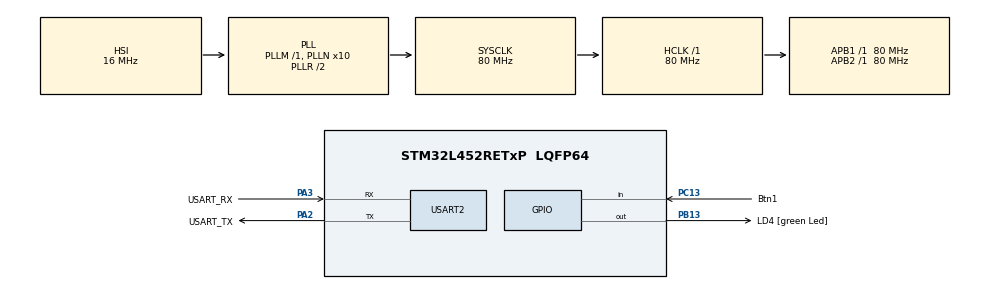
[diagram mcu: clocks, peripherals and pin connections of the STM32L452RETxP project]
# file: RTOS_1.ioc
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FREERTOS.Tasks01=defaultTask,0,128,StartDefaultTask,Default,NULL,Dynamic,NULL,NULL;myLedTask,0,128,StartLedTask,Default,NULL,Dynamic,NULL,NULL;myBtn,0,128,StartBtn,Default,NULL,Dynamic,NULL,NULL
FREERTOS.configUSE_NEWLIB_REENTRANT=1
Mcu.Family=STM32L4
Mcu.Name=STM32L452RETxP
Mcu.Package=LQFP64
NVIC.PriorityGroup=NVIC_PRIORITYGROUP_4
NVIC.TIM2_IRQn=true\:15\:0\:false\:false\:true\:false\:false\:true\:true
NVIC.TimeBase=TIM2_IRQn
NVIC.TimeBaseIP=TIM2
PA13\ (JTMS/SWDIO).GPIO_Label=TMS
PA13\ (JTMS/SWDIO).Mode=Trace_Asynchronous_SW
PA13\ (JTMS/SWDIO).Signal=SYS_JTMS-SWDIO
PA14\ (JTCK/SWCLK).GPIO_Label=TCK
PA14\ (JTCK/SWCLK).Mode=Trace_Asynchronous_SW
PA14\ (JTCK/SWCLK).Signal=SYS_JTCK-SWCLK
PA2.GPIO_Label=USART_TX
PA2.GPIO_Mode=GPIO_MODE_AF_PP
PA2.GPIO_PuPd=GPIO_NOPULL
PA2.GPIO_Speed=GPIO_SPEED_FREQ_VERY_HIGH
PA2.Mode=Asynchronous
PA2.Signal=USART2_TX
PA3.GPIO_Label=USART_RX
PA3.GPIO_Mode=GPIO_MODE_AF_PP
PA3.GPIO_PuPd=GPIO_NOPULL
PA3.GPIO_Speed=GPIO_SPEED_FREQ_VERY_HIGH
PA3.Mode=Asynchronous
PA3.Signal=USART2_RX
PB13.GPIO_Label=LD4 [green Led]
PB13.Signal=GPIO_Output
PB3\ (JTDO/TRACESWO).GPIO_Label=SWO
PB3\ (JTDO/TRACESWO).Mode=Trace_Asynchronous_SW
PB3\ (JTDO/TRACESWO).Signal=SYS_JTDO-SWO
PC13.GPIO_Label=Btn1
PC13.GPIO_PuPd=GPIO_NOPULL
PC13.Signal=GPIO_Input
PC14-OSC32_IN\ (PC14).Mode=LSE-External-Oscillator
PC14-OSC32_IN\ (PC14).Signal=RCC_OSC32_IN
PC15-OSC32_OUT\ (PC15).Mode=LSE-External-Oscillator
PC15-OSC32_OUT\ (PC15).Signal=RCC_OSC32_OUT
PH0-OSC_IN\ (PH0).GPIO_Label=MCO
PH0-OSC_IN\ (PH0).Mode=HSE-External-Clock-Source
PH0-OSC_IN\ (PH0).Signal=RCC_OSC_IN
PH1-OSC_OUT\ (PH1).Signal=RCC_OSC_OUT
ProjectManager.HeapSize=0x200
ProjectManager.StackSize=0x400
ProjectManager.TargetToolchain=STM32CubeIDE
RCC.ADCFreq_Value=64000000
RCC.AHBFreq_Value=80000000
RCC.APB1Freq_Value=80000000
RCC.APB1TimFreq_Value=80000000
RCC.APB2Freq_Value=80000000
RCC.APB2TimFreq_Value=80000000
RCC.CortexFreq_Value=80000000
RCC.HCLKFreq_Value=80000000
RCC.HSE_VALUE=8000000
RCC.HSI48_VALUE=48000000
RCC.HSI_VALUE=16000000
RCC.MSI_VALUE=4000000
RCC.PLLN=10
RCC.PLLSourceVirtual=RCC_PLLSOURCE_HSI
RCC.PREFETCH_ENABLE=1
RCC.SYSCLKFreq_VALUE=80000000
RCC.SYSCLKSource=RCC_SYSCLKSOURCE_PLLCLK
RCC.USBFreq_Value=64000000
RCC.VCOOutputFreq_Value=160000000
USART2.VirtualMode-Asynchronous=VM_ASYNC
VP_FREERTOS_VS_CMSIS_V1.Mode=CMSIS_V1
VP_SYS_VS_tim2.Mode=TIM2
board=NUCLEO-L452RE-P

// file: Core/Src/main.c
/* USER CODE BEGIN Header */
/**
  ******************************************************************************
  * @file           : main.c
  * @brief          : Main program body
  ******************************************************************************
  * @attention
  *
  * 4янв2022
  * @Biriuk
  * peotr60@mail.ru
  *
  * RTOS_1
  * Изучение операционной среды FreeRTOS в среде STM32CubeIDE с помощью библиотеки HAL
  * с использованием отладочной платы NUCLEO-L452RE-P
  *
  * <h2><center>&copy; Copyright (c) 2021 STMicroelectronics.
  * All rights reserved.</center></h2>
  *
  * This software component is licensed by ST under BSD 3-Clause license,
  * the "License"; You may not use this file except in compliance with the
  * License. You may obtain a copy of the License at:
  *                        opensource.org/licenses/BSD-3-Clause
  *
  * 4янв22
  * ВНИМАНИЕ!
  * Столкнулся с проблемой при миграции stm32cube_fw_l4_v1170 на stm32cube_fw_l4_v1171 в проекте с RTOS. После обновления проекта в RTOS.ioc и компилировании main.c выдавалось 9 ошибок следующего характера:
  * multiple definition of `SystemCoreClockUpdate'; ./Core/Src/system_stm32l4xx.o:
  * и далее путь D:/STM32/STM32_File/RTOS_1/Debug/../Core/Src/system_stm32l4xx.c:272: first defined here
  * С трудом нашёл вот это:
  * https://stackoverflow.com/questions/64090730/multiple-definition-of-first-defined-here-stm32-ac6-studio
  * Вот перевод:
  * Это ошибки компоновщика. Вы, вероятно, делаете что - то подобное:
  * главная.c:
  * #include "lib.h"
  * init.c:
  * #include "lib.h"
  * Когда компоновщик проверяет символы и типы в main.c и init.c, он обнаруживает, что в каждом из них были определены одни и те же символы, следовательно, ошибка. Обычно заголовочные файлы только объявляют символы, а не определяют их, но есть некоторые творческие способы использования условного кода, которые могут обойти это
  * Т.е. производится повторное определение или включение одного и того же. В моём случае оказалось, что файл system_stm32l4xx.c находится в двух папках:
  * D:\STM32\STM32_File\RTOS_1\Core\Src\system_stm32l4xx.c
  * D:\STM32\STM32_File\RTOS_1\Drivers\CMSIS\Device\ST\STM32L4xx\Source\Templates\Core\Src\system_stm32l4xx.c
  * После удаления файла из Templates ошибки исчезли! Однако, после последующего обновления проекта в RTOS.ioc указанный файл в папке Templates восстановился, и вновь выдались ошибки!
  * Удаления из папки Core\Src\ приводили к аналогичным результатам.
  * Т.е. нужно после каждого обновления проекта в окне, вызываемом файлом *.ioc (в моём случае это RTOS.ioc) нужно удалять повторяющиеся файлы, в моём случае файл system_stm32l4xx.c. Лучше удалять из папки Templates И СЛЕДИТЬ ЗА ОПЕРАТОРАМИ В main.c, могут пропадать после такого обновления. У меня пропадали файлы:
  * #include "string.h" // это для функции strlen()
  * #include <stdio.h>
  * N.B! Чтобы инклюды не пропадали, всего-навсего нужно было их вводить в графу "Private includes"!
  *
  ******************************************************************************
  */
/* USER CODE END Header */
#include "main.h"
#include "cmsis_os.h"

/* USER CODE BEGIN Includes */
#include "string.h" // это для функции strlen()
#include <stdio.h>

/* USER CODE END Includes */

 UART_HandleTypeDef huart2;

osThreadId defaultTaskHandle;
osThreadId myLedTaskHandle;
osThreadId myBtnHandle;
/* USER CODE BEGIN PV */
char trans_str[64] = {0,};
int LED_State = 0;
int T_LED = 100;
int Btn_State = 0;
/* USER CODE END PV */

void SystemClock_Config(void);
static void MX_GPIO_Init(void);
static void MX_USART2_UART_Init(void);
void StartDefaultTask(void const * argument);
void StartLedTask(void const * argument);
void StartBtn(void const * argument);

int main(void)
{

  /* MCU Configuration--------------------------------------------------------*/

  /* Reset of all peripherals, Initializes the Flash interface and the Systick. */
  HAL_Init();

  /* Configure the system clock */
  SystemClock_Config();

  /* Initialize all configured peripherals */
  MX_GPIO_Init();
  MX_USART2_UART_Init();

  /* Create the thread(s) */
  /* definition and creation of defaultTask */
  osThreadDef(defaultTask, StartDefaultTask, osPriorityNormal, 0, 128);
  defaultTaskHandle = osThreadCreate(osThread(defaultTask), NULL);

  /* definition and creation of myLedTask */
  osThreadDef(myLedTask, StartLedTask, osPriorityNormal, 0, 128);
  myLedTaskHandle = osThreadCreate(osThread(myLedTask), NULL);

  /* definition and creation of myBtn */
  osThreadDef(myBtn, StartBtn, osPriorityNormal, 0, 128);
  myBtnHandle = osThreadCreate(osThread(myBtn), NULL);

  /* Start scheduler */
  osKernelStart();

  /* We should never get here as control is now taken by the scheduler */
  /* Infinite loop */
	while (1)
	{

	}
}

void SystemClock_Config(void)
{
  RCC_OscInitTypeDef RCC_OscInitStruct = {0};
  RCC_ClkInitTypeDef RCC_ClkInitStruct = {0};

  /** Configure the main internal regulator output voltage
  */
  if (HAL_PWREx_ControlVoltageScaling(PWR_REGULATOR_VOLTAGE_SCALE1) != HAL_OK)
  {
    Error_Handler();
  }

  /** Initializes the RCC Oscillators according to the specified parameters
  * in the RCC_OscInitTypeDef structure.
  */
  RCC_OscInitStruct.OscillatorType = RCC_OSCILLATORTYPE_HSI;
  RCC_OscInitStruct.HSIState = RCC_HSI_ON;
  RCC_OscInitStruct.HSICalibrationValue = RCC_HSICALIBRATION_DEFAULT;
  RCC_OscInitStruct.PLL.PLLState = RCC_PLL_ON;
  RCC_OscInitStruct.PLL.PLLSource = RCC_PLLSOURCE_HSI;
  RCC_OscInitStruct.PLL.PLLM = 1;
  RCC_OscInitStruct.PLL.PLLN = 10;
  RCC_OscInitStruct.PLL.PLLP = RCC_PLLP_DIV7;
  RCC_OscInitStruct.PLL.PLLQ = RCC_PLLQ_DIV2;
  RCC_OscInitStruct.PLL.PLLR = RCC_PLLR_DIV2;
  if (HAL_RCC_OscConfig(&RCC_OscInitStruct) != HAL_OK)
  {
    Error_Handler();
  }

  /** Initializes the CPU, AHB and APB buses clocks
  */
  RCC_ClkInitStruct.ClockType = RCC_CLOCKTYPE_HCLK|RCC_CLOCKTYPE_SYSCLK
                              |RCC_CLOCKTYPE_PCLK1|RCC_CLOCKTYPE_PCLK2;
  RCC_ClkInitStruct.SYSCLKSource = RCC_SYSCLKSOURCE_PLLCLK;
  RCC_ClkInitStruct.AHBCLKDivider = RCC_SYSCLK_DIV1;
  RCC_ClkInitStruct.APB1CLKDivider = RCC_HCLK_DIV1;
  RCC_ClkInitStruct.APB2CLKDivider = RCC_HCLK_DIV1;

  if (HAL_RCC_ClockConfig(&RCC_ClkInitStruct, FLASH_LATENCY_4) != HAL_OK)
  {
    Error_Handler();
  }
}

static void MX_USART2_UART_Init(void)
{

  huart2.Instance = USART2;
  huart2.Init.BaudRate = 115200;
  huart2.Init.WordLength = UART_WORDLENGTH_8B;
  huart2.Init.StopBits = UART_STOPBITS_1;
  huart2.Init.Parity = UART_PARITY_NONE;
  huart2.Init.Mode = UART_MODE_TX_RX;
  huart2.Init.HwFlowCtl = UART_HWCONTROL_NONE;
  huart2.Init.OverSampling = UART_OVERSAMPLING_16;
  huart2.Init.OneBitSampling = UART_ONE_BIT_SAMPLE_DISABLE;
  huart2.AdvancedInit.AdvFeatureInit = UART_ADVFEATURE_NO_INIT;
  if (HAL_UART_Init(&huart2) != HAL_OK)
  {
    Error_Handler();
  }

}

static void MX_GPIO_Init(void)
{
  GPIO_InitTypeDef GPIO_InitStruct = {0};

  /* GPIO Ports Clock Enable */
  __HAL_RCC_GPIOC_CLK_ENABLE();
  __HAL_RCC_GPIOH_CLK_ENABLE();
  __HAL_RCC_GPIOA_CLK_ENABLE();
  __HAL_RCC_GPIOB_CLK_ENABLE();

  /*Configure GPIO pin Output Level */
  HAL_GPIO_WritePin(LD4_GPIO_Port, LD4_Pin, GPIO_PIN_RESET);

  /*Configure GPIO pin : Btn1_Pin */
  GPIO_InitStruct.Pin = Btn1_Pin;
  GPIO_InitStruct.Mode = GPIO_MODE_INPUT;
  GPIO_InitStruct.Pull = GPIO_NOPULL;
  HAL_GPIO_Init(Btn1_GPIO_Port, &GPIO_InitStruct);

  /*Configure GPIO pin : LD4_Pin */
  GPIO_InitStruct.Pin = LD4_Pin;
  GPIO_InitStruct.Mode = GPIO_MODE_OUTPUT_PP;
  GPIO_InitStruct.Pull = GPIO_NOPULL;
  GPIO_InitStruct.Speed = GPIO_SPEED_FREQ_LOW;
  HAL_GPIO_Init(LD4_GPIO_Port, &GPIO_InitStruct);

}

/* USER CODE BEGIN 4 */
//это стандартна¤ запись для посимвольного вывода информации в интерфейс ITM в среде STM32CubeIDE
//(должно быть в случае применени¤ SWO)
//https://www.youtube.com/watch?v=nE-YrKpWjso&list=PL9lkEHy8EJU8a_bqiJXwGTo-uM_cPa98P
int __io_putchar(int ch)
{
	ITM_SendChar(ch);
	return ch;
}

//или:

//STM32: отладка через SWO в STM32CubeIDE с доработкой ST-LINK
//https://www.youtube.com/watch?v=ST_fUu6ACzE
//https://www.youtube.com/watch?v=iC2-0Md-6yg

//int _write(int file, char *ptr, int len)
 //{
 //int i = 0;
 //for(i = 0; i < len; i++)
    //ITM_SendChar((*ptr++));
 //return len;
 //}

/* USER CODE END 4 */

void StartDefaultTask(void const * argument)
{
  for(;;)
  {
    osDelay(1);
  }
}

void StartLedTask(void const * argument)
{
  /* USER CODE BEGIN StartLedTask */
	/* Infinite loop */
	for (;;)
	{
		HAL_GPIO_TogglePin(LD4_GPIO_Port, LD4_Pin);
		LED_State = HAL_GPIO_ReadPin(LD4_GPIO_Port, LD4_Pin);

		//snprintf в stm32:
		//https://eax.me/stm32-spi-flash/
		snprintf(trans_str, sizeof(trans_str), "UART: RTOS  работает правильно! \n\r");
		//https://istarik.ru/blog/stm32/113.html
		HAL_UART_Transmit(&huart2, (uint8_t*) trans_str, strlen(trans_str),100);
		printf("RTOS (printf): режим LED\r");
		puts("RTOS (puts): режим LED\r");

		osDelay(T_LED);
	}
  /* USER CODE END StartLedTask */
}

void StartBtn(void const * argument)
{
  /* USER CODE BEGIN StartBtn */
	/* Infinite loop */
	for (;;)
	{
		if(HAL_GPIO_ReadPin(GPIOC,GPIO_PIN_13)==GPIO_PIN_SET)
		{
			/* Этот вариант работает неверно!====================*/
			//Урок №3. Использование системы FreeRTOS на примере
			//работы кнопки и светодиода с помощью микроконтроллера STM32F103:
			//https://texnohelp.com/stm32-freertos-lesson3/

		//while(HAL_GPIO_ReadPin(GPIOC,GPIO_PIN_13)==GPIO_PIN_RESET)
		//{
			//vTaskDelay(50);
			//vTaskDelay(2);
		//}  //антидребезг
			//====================================================

			vTaskDelay(50);	//антидребезг

			if (HAL_GPIO_ReadPin(GPIOC, GPIO_PIN_13) == GPIO_PIN_SET)
			{
				T_LED = 1000;
				Btn_State = HAL_GPIO_ReadPin(GPIOC, GPIO_PIN_13);

				//snprintf в stm32:
				//https://eax.me/stm32-spi-flash/
				snprintf(trans_str, sizeof(trans_str),
						"UART: RTOS, Нажата кнопка!\n\r");
				HAL_UART_Transmit(&huart2, (uint8_t*) trans_str,
						strlen(trans_str), 100);
				printf("RTOS (printf): Нажата кнопка!\r");
				puts("RTOS (puts): Нажата кнопка!\r");

				puts("RTOS (puts): Nazhata knopka!\r");
			}

		}

		if (HAL_GPIO_ReadPin(GPIOC, GPIO_PIN_13) == GPIO_PIN_RESET)
		{
			vTaskDelay(50);	//антидребезг

			if (HAL_GPIO_ReadPin(GPIOC, GPIO_PIN_13) == GPIO_PIN_RESET)
			{
				T_LED = 250;
				Btn_State = HAL_GPIO_ReadPin(GPIOC, GPIO_PIN_13);
			}

		}

			osDelay(10);
	}
  /* USER CODE END StartBtn */
}

void HAL_TIM_PeriodElapsedCallback(TIM_HandleTypeDef *htim)
{
  if (htim->Instance == TIM2) {
    HAL_IncTick();
  }
}

void Error_Handler(void)
{
  __disable_irq();
  while (1)
  {
  }
}
